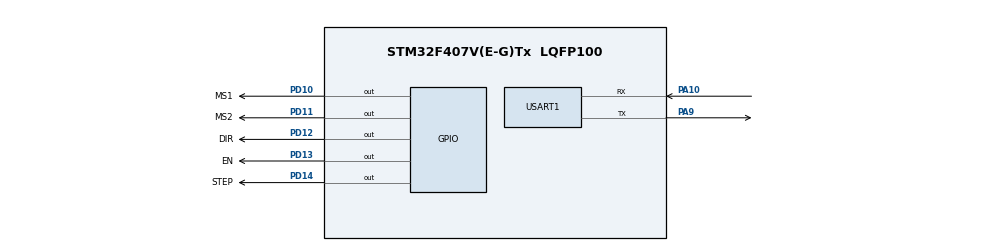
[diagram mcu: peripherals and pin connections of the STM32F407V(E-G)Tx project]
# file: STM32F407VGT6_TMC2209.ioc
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Mcu.Family=STM32F4
Mcu.Name=STM32F407V(E-G)Tx
Mcu.Package=LQFP100
NVIC.PriorityGroup=NVIC_PRIORITYGROUP_4
PA10.GPIO_PuPd=GPIO_PULLDOWN
PA10.Mode=Asynchronous
PA10.Signal=USART1_RX
PA13.Mode=Serial_Wire
PA13.Signal=SYS_JTMS-SWDIO
PA14.Mode=Serial_Wire
PA14.Signal=SYS_JTCK-SWCLK
PA9.Mode=Asynchronous
PA9.Signal=USART1_TX
PC14-OSC32_IN.Mode=LSE-External-Oscillator
PC14-OSC32_IN.Signal=RCC_OSC32_IN
PC15-OSC32_OUT.Mode=LSE-External-Oscillator
PC15-OSC32_OUT.Signal=RCC_OSC32_OUT
PD10.GPIO_Label=MS1
PD10.GPIO_PuPd=GPIO_PULLUP
PD10.Signal=GPIO_Output
PD11.GPIO_Label=MS2
PD11.GPIO_PuPd=GPIO_PULLUP
PD11.Signal=GPIO_Output
PD12.GPIO_Label=DIR
PD12.GPIO_PuPd=GPIO_PULLUP
PD12.Signal=GPIO_Output
PD13.GPIO_Label=EN
PD13.GPIO_PuPd=GPIO_PULLUP
PD13.Signal=GPIO_Output
PD14.GPIO_Label=STEP
PD14.GPIO_PuPd=GPIO_PULLUP
PD14.Signal=GPIO_Output
PH0-OSC_IN.Mode=HSE-External-Oscillator
PH0-OSC_IN.Signal=RCC_OSC_IN
PH1-OSC_OUT.Mode=HSE-External-Oscillator
PH1-OSC_OUT.Signal=RCC_OSC_OUT
ProjectManager.HeapSize=0x200
ProjectManager.StackSize=0x400
ProjectManager.TargetToolchain=MDK-ARM V5.32
RCC.48MHZClocksFreq_Value=84000000
RCC.AHBFreq_Value=168000000
RCC.APB1CLKDivider=RCC_HCLK_DIV4
RCC.APB1Freq_Value=42000000
RCC.APB1TimFreq_Value=84000000
RCC.APB2CLKDivider=RCC_HCLK_DIV2
RCC.APB2Freq_Value=84000000
RCC.APB2TimFreq_Value=168000000
RCC.CortexFreq_Value=168000000
RCC.HCLKFreq_Value=168000000
RCC.HSE_VALUE=25000000
RCC.HSI_VALUE=16000000
RCC.PLLM=8
RCC.PLLN=168
RCC.SYSCLKFreq_VALUE=168000000
RCC.SYSCLKSource=RCC_SYSCLKSOURCE_PLLCLK
RCC.VCOOutputFreq_Value=336000000
USART1.VirtualMode=VM_ASYNC
board=custom

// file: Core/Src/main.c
/* USER CODE BEGIN Header */
/**
 ******************************************************************************
 * @file           : main.c
 * @brief          : Main program body
 ******************************************************************************
 * @attention
 *
 * Copyright (c) 2024 STMicroelectronics.
 * All rights reserved.
 *
 * This software is licensed under terms that can be found in the LICENSE file
 * in the root directory of this software component.
 * If no LICENSE file comes with this software, it is provided AS-IS.
 *
 ******************************************************************************
 */
/* USER CODE END Header */
#include "main.h"
#include "usart.h"
#include "gpio.h"

/* USER CODE BEGIN PD */

void SubdivisionSet( uint8_t i );                  // 细分设置
void MoveStep( uint8_t DIR_Flag, uint32_t Step );  // 电机移动多少步

/* USER CODE END PD */

void SystemClock_Config( void );

int main( void ) {

    /* MCU Configuration--------------------------------------------------------*/

    /* Reset of all peripherals, Initializes the Flash interface and the Systick. */
    HAL_Init();

    /* Configure the system clock */
    SystemClock_Config();

    /* Initialize all configured peripherals */
    MX_GPIO_Init();
    MX_USART1_UART_Init();
    /* USER CODE BEGIN 2 */

    SubdivisionSet( 8 );  // 细分设置为64
    HAL_GPIO_WritePin( STEP_GPIO_Port, STEP_Pin, GPIO_PIN_SET );

    /* USER CODE END 2 */

    /* Infinite loop */
    while ( 1 ) {

        /* USER CODE BEGIN 3 */
        MoveStep( 1, 1600 * 10 );  // 正转一圈
        HAL_Delay( 1000 );         // 延时2S
        MoveStep( 0, 1600 * 10 );  // 反转一圈
        HAL_Delay( 1000 );         // 延时2S
    }
    /* USER CODE END 3 */
}

void SystemClock_Config( void ) {
    RCC_OscInitTypeDef RCC_OscInitStruct = { 0 };
    RCC_ClkInitTypeDef RCC_ClkInitStruct = { 0 };

    /** Configure the main internal regulator output voltage
     */
    __HAL_RCC_PWR_CLK_ENABLE();
    __HAL_PWR_VOLTAGESCALING_CONFIG( PWR_REGULATOR_VOLTAGE_SCALE1 );

    /** Initializes the RCC Oscillators according to the specified parameters
     * in the RCC_OscInitTypeDef structure.
     */
    RCC_OscInitStruct.OscillatorType      = RCC_OSCILLATORTYPE_HSI;
    RCC_OscInitStruct.HSIState            = RCC_HSI_ON;
    RCC_OscInitStruct.HSICalibrationValue = RCC_HSICALIBRATION_DEFAULT;
    RCC_OscInitStruct.PLL.PLLState        = RCC_PLL_ON;
    RCC_OscInitStruct.PLL.PLLSource       = RCC_PLLSOURCE_HSI;
    RCC_OscInitStruct.PLL.PLLM            = 8;
    RCC_OscInitStruct.PLL.PLLN            = 168;
    RCC_OscInitStruct.PLL.PLLP            = RCC_PLLP_DIV2;
    RCC_OscInitStruct.PLL.PLLQ            = 4;
    if ( HAL_RCC_OscConfig( &RCC_OscInitStruct ) != HAL_OK ) {
        Error_Handler();
    }

    /** Initializes the CPU, AHB and APB buses clocks
     */
    RCC_ClkInitStruct.ClockType      = RCC_CLOCKTYPE_HCLK | RCC_CLOCKTYPE_SYSCLK | RCC_CLOCKTYPE_PCLK1 | RCC_CLOCKTYPE_PCLK2;
    RCC_ClkInitStruct.SYSCLKSource   = RCC_SYSCLKSOURCE_PLLCLK;
    RCC_ClkInitStruct.AHBCLKDivider  = RCC_SYSCLK_DIV1;
    RCC_ClkInitStruct.APB1CLKDivider = RCC_HCLK_DIV4;
    RCC_ClkInitStruct.APB2CLKDivider = RCC_HCLK_DIV2;

    if ( HAL_RCC_ClockConfig( &RCC_ClkInitStruct, FLASH_LATENCY_5 ) != HAL_OK ) {
        Error_Handler();
    }
}

/* USER CODE BEGIN 4 */

/**
 * @brief     : 细分设置
 * @msg       : SubdivisionSet
 * @param      {uint8_t} i 细分选项8，32，64
 * @return     {*}
 */
void SubdivisionSet( uint8_t i ) {
    if ( i == 8 ) {
        HAL_GPIO_WritePin( MS2_GPIO_Port, MS2_Pin, GPIO_PIN_RESET );
        HAL_GPIO_WritePin( MS1_GPIO_Port, MS1_Pin, GPIO_PIN_RESET );
    }
    else if ( i == 32 ) {
        HAL_GPIO_WritePin( MS2_GPIO_Port, MS2_Pin, GPIO_PIN_RESET );
        HAL_GPIO_WritePin( MS1_GPIO_Port, MS1_Pin, GPIO_PIN_SET );
    }
    else if ( i == 64 ) {
        HAL_GPIO_WritePin( MS2_GPIO_Port, MS2_Pin, GPIO_PIN_SET );
        HAL_GPIO_WritePin( MS1_GPIO_Port, MS1_Pin, GPIO_PIN_RESET );
    }
    else {
        HAL_GPIO_WritePin( MS2_GPIO_Port, MS2_Pin, GPIO_PIN_SET );
        HAL_GPIO_WritePin( MS1_GPIO_Port, MS1_Pin, GPIO_PIN_SET );
    }
}

/**
 * @brief     : 延迟
 * @msg       : DelayNop
 * @param      {uint8_t} i 时间步
 * @return     {*}
 */
void DelayNop( uint8_t i ) {
    uint32_t j;
    do {
        for ( j = 0; j < 100; j++ ) {
            ;
        }
    } while ( i-- );
}

/**
 * @brief     :步进移动
 * @msg       :MoveStep
 * @param      {uint8_t} DIR_Flag 步进方向
 * @param      {uint32_t} Step 步数
 * @return     {*}
 */
void MoveStep( uint8_t DIR_Flag, uint32_t Step ) {
    uint8_t  j = 100;
    // uint32_t j = 1;
    uint32_t i;

    // 电机使能
    HAL_GPIO_WritePin( EN_GPIO_Port, EN_Pin, GPIO_PIN_RESET );

    if ( DIR_Flag ) {
        // 正转
        HAL_GPIO_WritePin( DIR_GPIO_Port, DIR_Pin, GPIO_PIN_SET );
    }
    else {
        // 反转
        HAL_GPIO_WritePin( DIR_GPIO_Port, DIR_Pin, GPIO_PIN_RESET );
    }

    for ( i = 0; i < Step; i++ ) {
        // 发送脉冲
        HAL_GPIO_WritePin( STEP_GPIO_Port, STEP_Pin, GPIO_PIN_RESET );

        // if(j>1)	j--;
        // else;
        DelayNop( j );
        HAL_GPIO_WritePin( STEP_GPIO_Port, STEP_Pin, GPIO_PIN_SET );
        DelayNop( j );
    }

    HAL_Delay( 10 );
    // 电机非使能
    HAL_GPIO_WritePin( EN_GPIO_Port, EN_Pin, GPIO_PIN_SET );
}

/* USER CODE END 4 */

void Error_Handler( void ) {
    __disable_irq();
    while ( 1 ) {
    }
}
